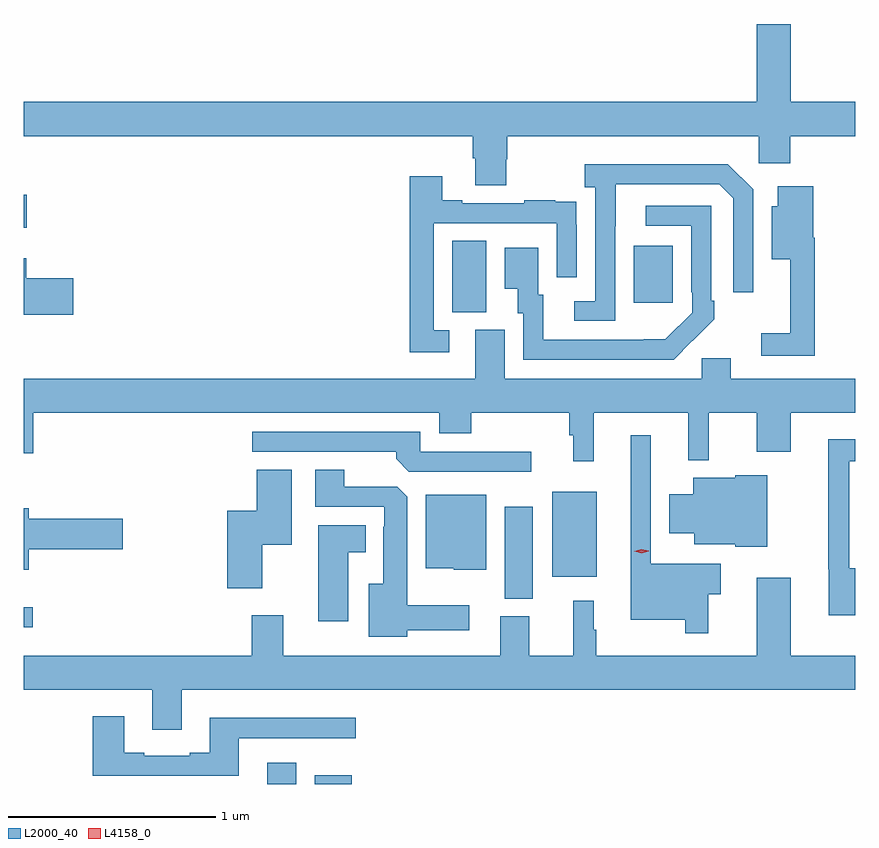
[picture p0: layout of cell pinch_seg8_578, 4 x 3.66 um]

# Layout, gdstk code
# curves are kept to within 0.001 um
import gdstk
lib = gdstk.Library(unit=1e-6, precision=1e-09)
def R(c, l, rs):  # rectangles x0, y0, x1, y1
    for r in rs: c.add(gdstk.rectangle(r[:2], r[2:], *l))
def P(c, l, *ps):  # polygons
    for p in ps: c.add(gdstk.Polygon(p, *l))
L2000_40 = (2000, 40)
L4158_0 = (4158, 0)

pinch_seg8_578 = lib.new_cell('pinch_seg8_578')
R(pinch_seg8_578, L2000_40, [(138.677,1084.078,138.817,1084.18), (138.905,1084.078,139.084,1084.12), (137.506,1084.832,137.548,1084.929), (139.82,1084.969,139.954,1085.413), (140.048,1085.075,140.263,1085.485), (139.568,1086.349,139.732,1086.692), (140.441,1086.393,140.629,1086.667), (137.506,1086.755,137.521,1086.913)])
P(pinch_seg8_578, L2000_40, [(139.827,1087.083),(139.832,1087.083),(139.832,1087.196),(141.042,1087.196),(141.042,1087.065),(141.194,1087.065),(141.194,1087.196),(141.506,1087.196),(141.506,1087.36),(141.196,1087.36),(141.196,1087.735),(141.032,1087.735),(141.032,1087.36),(137.506,1087.36),(137.506,1087.196),(139.667,1087.196),(139.667,1087.09),(139.679,1087.09),(139.679,1086.958),(139.827,1086.958)],
  [(140.352,1086.763),(140.353,1086.963),(140.853,1086.963),(140.919,1086.897),(140.919,1086.444),(141.015,1086.444),(141.015,1086.939),(140.894,1087.06),(140.205,1087.06),(140.205,1086.95),(140.256,1086.95),(140.256,1086.402),(140.154,1086.402),(140.154,1086.306),(140.352,1086.306)],
  [(139.552,1086.261),(139.479,1086.261),(139.479,1086.777),(140.07,1086.777),(140.07,1086.516),(140.166,1086.516),(140.166,1086.77),(140.165,1086.77),(140.165,1086.879),(140.063,1086.879),(140.063,1086.886),(139.915,1086.886),(139.915,1086.873),(139.615,1086.873),(139.615,1086.886),(139.519,1086.886),(139.519,1087.003),(139.363,1087.003),(139.363,1086.156),(139.552,1086.156)],
  [(141.311,1086.706),(141.305,1086.706),(141.305,1086.955),(141.134,1086.955),(141.134,1086.859),(141.104,1086.859),(141.104,1086.602),(141.194,1086.602),(141.194,1086.247),(141.054,1086.247),(141.054,1086.138),(141.311,1086.138)],
  [(140.723,1086.211),(140.724,1086.21),(140.829,1086.315),(140.829,1086.403),(140.814,1086.403),(140.814,1086.861),(140.499,1086.861),(140.499,1086.765),(140.718,1086.765),(140.718,1086.445),(140.721,1086.445),(140.721,1086.345),(140.593,1086.217),(140.005,1086.216),(140.005,1086.432),(139.981,1086.432),(139.981,1086.658),(139.82,1086.658),(139.82,1086.461),(139.883,1086.461),(139.883,1086.342),(139.908,1086.342),(139.908,1086.12),(140.632,1086.12)],
  [(137.743,1086.512),(137.518,1086.512),(137.518,1086.607),(137.506,1086.607),(137.506,1086.336),(137.743,1086.336)],
  [(140.249,1085.864),(140.702,1085.864),(140.702,1085.636),(140.802,1085.636),(140.802,1085.864),(141.032,1085.864),(141.032,1085.676),(141.196,1085.676),(141.196,1085.864),(141.506,1085.864),(141.506,1086.028),(140.908,1086.028),(140.908,1086.126),(140.769,1086.126),(140.769,1086.028),(139.819,1086.028),(139.819,1086.264),(139.679,1086.264),(139.679,1086.028),(137.506,1086.028),(137.506,1085.67),(137.552,1085.67),(137.552,1085.864),(139.505,1085.864),(139.505,1085.765),(139.658,1085.765),(139.658,1085.864),(140.131,1085.864),(140.131,1085.756),(140.15,1085.756),(140.15,1085.631),(140.249,1085.631)],
  [(139.948,1085.676),(139.413,1085.676),(139.413,1085.772),(138.606,1085.772),(138.606,1085.676),(139.298,1085.676),(139.298,1085.642),(139.359,1085.58),(139.948,1085.58)],
  [(140.799,1084.99),(140.86,1084.99),(140.86,1085.137),(140.523,1085.137),(140.523,1085.755),(140.426,1085.755),(140.426,1084.868),(140.688,1084.868),(140.688,1084.803),(140.799,1084.803)],
  [(141.506,1085.115),(141.477,1085.115),(141.477,1085.631),(141.506,1085.631),(141.506,1085.737),(141.376,1085.737),(141.376,1085.112),(141.38,1085.112),(141.38,1084.89),(141.506,1084.89)],
  [(139.351,1084.817),(139.648,1084.817),(139.648,1084.939),(139.351,1084.939),(139.351,1085.459),(139.302,1085.508),(139.048,1085.508),(139.048,1085.591),(138.908,1085.591),(138.908,1085.412),(139.239,1085.412),(139.239,1085.315),(139.235,1085.315),(139.235,1085.041),(139.166,1085.041),(139.166,1084.787),(139.351,1084.787)],
  [(138.652,1085.23),(138.796,1085.23),(138.796,1085.59),(138.626,1085.59),(138.626,1085.392),(138.485,1085.392),(138.485,1085.019),(138.652,1085.019)],
  [(141.082,1085.563),(140.928,1085.563),(140.928,1085.551),(140.726,1085.551),(140.726,1085.473),(140.612,1085.473),(140.612,1085.285),(140.732,1085.285),(140.732,1085.231),(140.928,1085.231),(140.928,1085.219),(141.082,1085.219)],
  [(139.732,1085.47),(139.439,1085.47),(139.439,1085.117),(139.575,1085.117),(139.575,1085.108),(139.732,1085.108)],
  [(137.53,1085.207),(137.983,1085.207),(137.983,1085.354),(137.53,1085.354),(137.53,1085.404),(137.506,1085.404),(137.506,1085.108),(137.53,1085.108)],
  [(139.066,1085.192),(139.15,1085.192),(139.15,1085.323),(138.923,1085.323),(138.923,1084.86),(139.066,1084.86)],
  [(138.265,1084.532),(141.506,1084.532),(141.506,1084.696),(141.196,1084.696),(141.196,1085.071),(141.032,1085.071),(141.032,1084.696),(140.26,1084.696),(140.26,1084.82),(140.248,1084.82),(140.248,1084.96),(140.15,1084.96),(140.15,1084.696),(139.939,1084.696),(139.939,1084.884),(139.799,1084.884),(139.799,1084.696),(138.754,1084.696),(138.754,1084.891),(138.602,1084.891),(138.602,1084.696),(137.506,1084.696),(137.506,1084.532),(138.125,1084.532),(138.125,1084.338),(138.265,1084.338)],
  [(138.541,1084.299),(139.102,1084.299),(139.102,1084.396),(138.401,1084.396),(138.401,1084.228),(138.305,1084.228),(138.305,1084.215),(138.085,1084.215),(138.085,1084.228),(137.989,1084.228),(137.989,1084.405),(137.837,1084.405),(137.837,1084.118),(138.541,1084.118)])
P(pinch_seg8_578, L4158_0, [(140.478,1085.188),(140.442,1085.197),(140.442,1085.197),(140.442,1085.197),(140.477,1085.208),(140.512,1085.2),(140.512,1085.2),(140.512,1085.199)])

lib.write_gds('pinch_seg8_578.gds')
